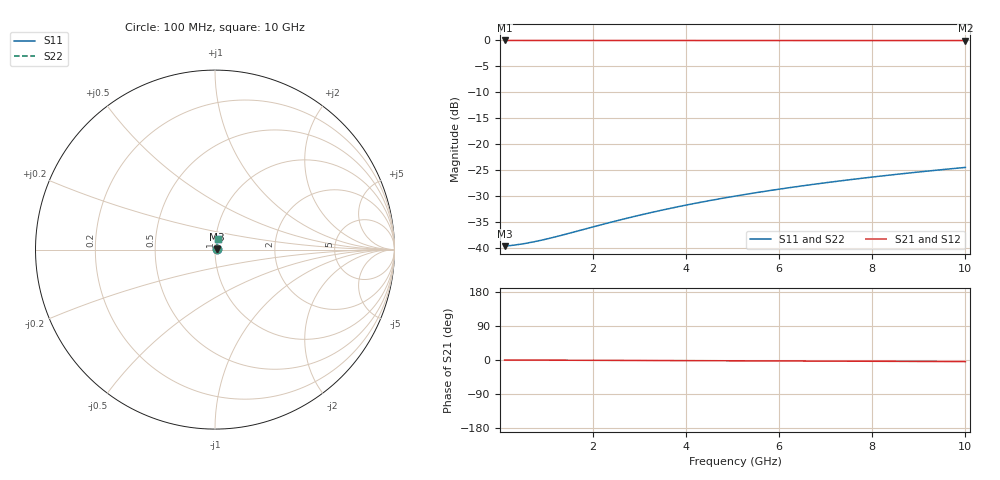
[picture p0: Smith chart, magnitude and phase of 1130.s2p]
# Hz S RI R 50.00
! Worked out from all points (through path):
!   100 points, 100 MHz to 10 GHz, reference 50 ohm
!   highest |S21| = -0.09 dB at 100 MHz (marker M1); lowest = -0.1 dB at 10 GHz (marker M2)
!   lowest |S11| = -39.6 dB at 100 MHz (marker M3), VSWR 1.02, Z = 51.1 + j0.0592 ohm
!   |S11| at or under -10 dB: start of sweep to end of sweep
!   |S22| runs from -39.6 to -24.5 dB; largest |S21 - S12| = 0
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1e8  0.0105 0.00058  0.9895 -0.000724  0.9895 -0.000724  0.0105 0.00058
3e8  0.0106 0.00174  0.9894 -0.00217  0.9894 -0.00217  0.0106 0.00174
5e8  0.0107 0.0029  0.9893 -0.00362  0.9893 -0.00362  0.0107 0.0029
8e8  0.0108 0.00464  0.9892 -0.00579  0.9892 -0.00579  0.0108 0.00464
1e9  0.0108 0.00579  0.9892 -0.00723  0.9892 -0.00723  0.0108 0.00579
1.2e9  0.0109 0.00695  0.9891 -0.00868  0.9891 -0.00868  0.0109 0.00695
1.8e9  0.011 0.0104  0.989 -0.013  0.989 -0.013  0.011 0.0104
2.2e9  0.0111 0.0127  0.9888 -0.0159  0.9888 -0.0159  0.0111 0.0127
2.6e9  0.0113 0.0151  0.9887 -0.0188  0.9887 -0.0188  0.0113 0.0151
3e9  0.0114 0.0174  0.9886 -0.0217  0.9886 -0.0217  0.0114 0.0174
3.4e9  0.0115 0.0197  0.9884 -0.0246  0.9884 -0.0246  0.0115 0.0197
3.8e9  0.0117 0.022  0.9883 -0.0275  0.9883 -0.0275  0.0117 0.022
4.2e9  0.0119 0.0243  0.9881 -0.0304  0.9881 -0.0304  0.0119 0.0243
4.6e9  0.012 0.0266  0.9879 -0.0332  0.9879 -0.0332  0.012 0.0266
5.1e9  0.0123 0.0295  0.9877 -0.0369  0.9877 -0.0369  0.0123 0.0295
5.5e9  0.0125 0.0318  0.9875 -0.0397  0.9875 -0.0397  0.0125 0.0318
5.9e9  0.0127 0.0341  0.9873 -0.0426  0.9873 -0.0426  0.0127 0.0341
6.7e9  0.0132 0.0387  0.9868 -0.0484  0.9868 -0.0484  0.0132 0.0387
7.5e9  0.0137 0.0433  0.9863 -0.0542  0.9863 -0.0542  0.0137 0.0433
8.4e9  0.0143 0.0485  0.9856 -0.0606  0.9856 -0.0606  0.0143 0.0485
9.2e9  0.015 0.0531  0.9849 -0.0664  0.9849 -0.0664  0.015 0.0531
1e10  0.0156 0.0577  0.9842 -0.0721  0.9842 -0.0721  0.0156 0.0577
